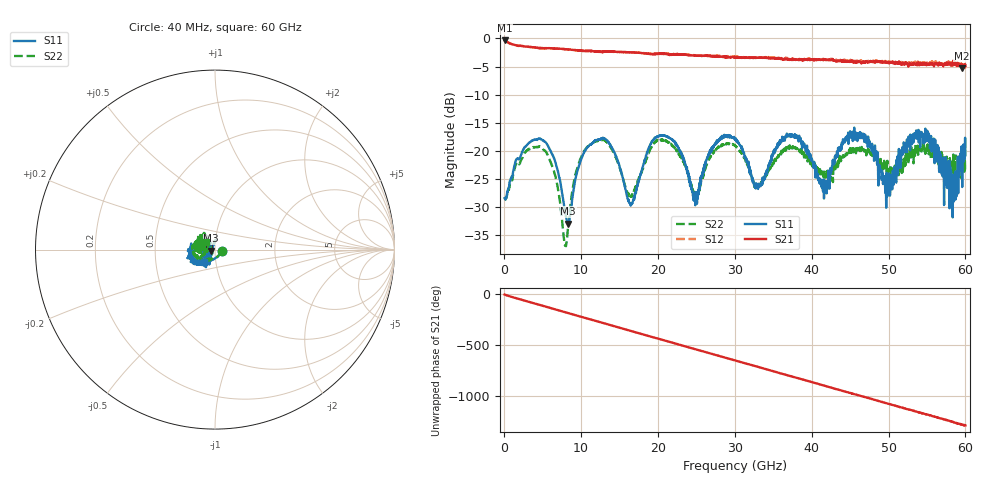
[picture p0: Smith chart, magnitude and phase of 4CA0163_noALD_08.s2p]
! File created by 'SoftPlot +Plus+ Measurement Management Software'
! SoftPlot +Plus+ Measurement Management Software
! Start 40.000000 MHz  Stop 60.000000 GHz  Points 1601
# MHZ S RI R 50
! S-Parameter data, F S11 S21 S12 S22
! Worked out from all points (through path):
!   1601 points, 40 MHz to 60 GHz, reference 50 ohm
!   highest |S21| = -0.37 dB at 40 MHz (marker M1); lowest = -5.2 dB at 59.51 GHz (marker M2)
!   group delay of S21, straight-line fit = 59.7 ps
!   lowest |S11| = -32.9 dB at 8.322 GHz (marker M3), VSWR 1.05, Z = 47.8 - j0.522 ohm
!   |S11| at or under -10 dB: start of sweep to end of sweep
!   |S22| runs from -36.9 to -18.0 dB; largest |S21 - S12| = 0.051
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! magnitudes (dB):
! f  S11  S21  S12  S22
! 40 MHz  -28.4  -0.4  -0.4  -28.4
! 4.724 GHz  -17.9  -1.7  -1.7  -19.3
! 6.598 GHz  -21.8  -1.8  -1.8  -24.2
! 7.872 GHz  -30.3  -1.9  -1.9  -36.7
! 8.322 GHz  -32.9  -2.0  -2.0  -33.3
! 10.05 GHz  -21.3  -2.2  -2.2  -21.0
! 13.23 GHz  -18.0  -2.3  -2.3  -18.3
! 16.53 GHz  -29.4  -2.5  -2.5  -28.1
! 20.05 GHz  -17.4  -2.8  -2.7  -18.1
! 24.85 GHz  -29.7  -3.1  -3.0  -27.8
! 27.21 GHz  -19.1  -3.1  -3.1  -20.1
! 30.02 GHz  -18.0  -3.3  -3.3  -19.0
! 32.87 GHz  -26.3  -3.4  -3.4  -26.3
! 36.84 GHz  -17.4  -3.8  -3.6  -19.3
! 40.03 GHz  -21.5  -3.7  -3.8  -22.1
! 41.75 GHz  -25.6  -3.8  -3.8  -24.1
! 46.47 GHz  -17.3  -4.5  -3.9  -19.9
! 50.03 GHz  -26.2  -4.4  -4.2  -23.4
! 53.59 GHz  -16.4  -4.6  -4.4  -19.6
! 58.24 GHz  -27.4  -4.4  -4.2  -22.7
! 59.51 GHz  -19.2  -5.2  -4.8  -23.5
! 60 GHz  -20.8  -4.9  -4.7  -23.9
